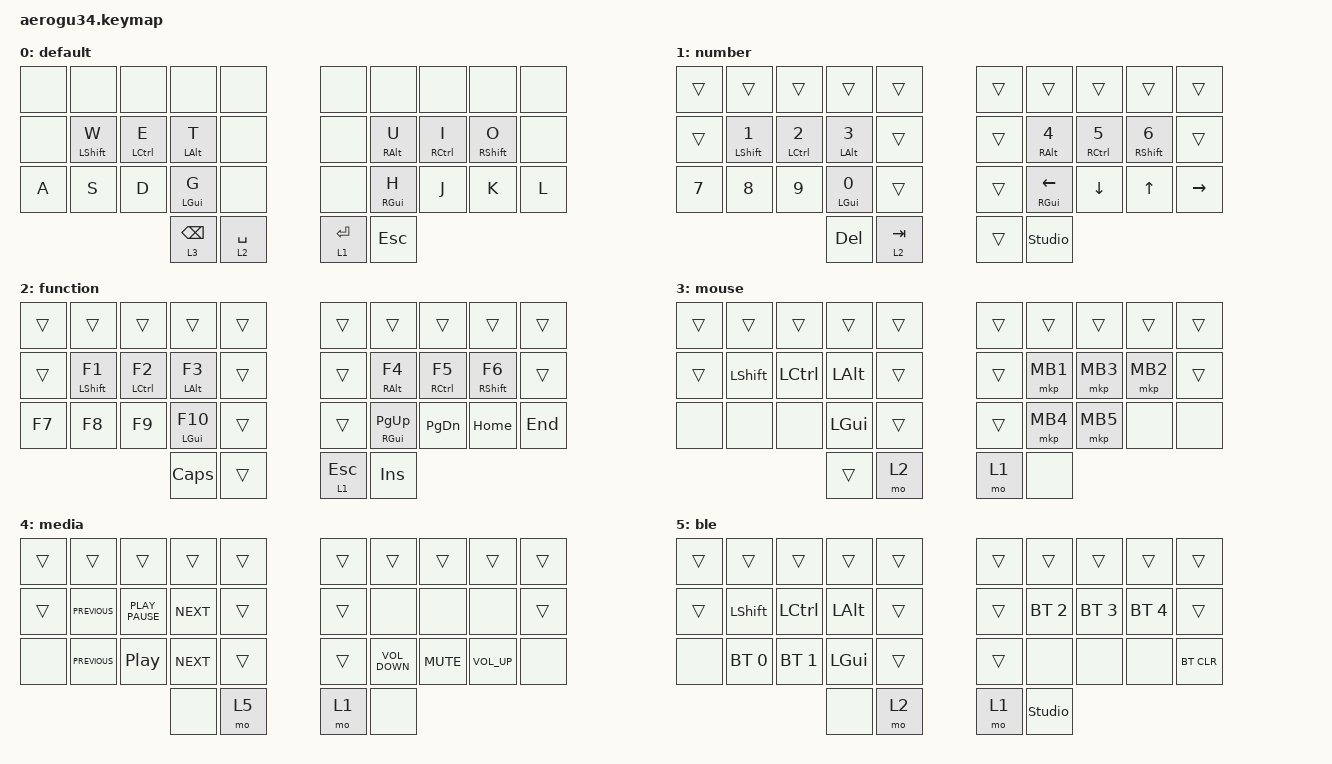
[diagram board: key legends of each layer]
#define ZMK_POINTING_DEFAULT_SCRL_VAL 200

#include <dt-bindings/zmk/mouse.h>
#include <behaviors.dtsi>
#include <dt-bindings/zmk/bt.h>
#include <dt-bindings/zmk/keys.h>
#include <dt-bindings/zmk/pointing.h>

// OS設定を日本語キーボードのまま使用するための変換定義

#define JP_DQUOTE       AT                // "
#define JP_AMPERSAND    CARET             // &e
#define JP_QUOTE        AMPERSAND         // '
#define JP_EQUAL        UNDER             // =
#define JP_CARET        EQUAL             // ^
#define JP_YEN          0x89              // ¥
#define JP_PLUS         COLON             // +
#define JP_TILDE        PLUS              // ~
#define JP_PIPE         LS(0x89)          // |
#define JP_AT           LEFT_BRACKET      // @
#define JP_COLON        SINGLE_QUOTE      // :
#define JP_ASTERISK     DOUBLE_QUOTES     // *
#define JP_BACKQUOTE    LEFT_BRACE        // `
#define JP_UNDERSCORE   LS(0x87)          // _
#define JP_LBRACKET     RIGHT_BRACKET     // [
#define JP_RBRACKET     BACKSLASH         // ]
#define JP_LPAREN       ASTERISK          // (
#define JP_RPAREN       LEFT_PARENTHESIS  // )
#define JP_LBRACE       RIGHT_BRACE       // {
#define JP_RBRACE       PIPE              // }
#define JP_KANA         LANGUAGE_1        // かな
#define JP_EISU         LANGUAGE_2        // 英数
#define JP_HANZEN       GRAVE             // 半角/全角

&mt {
    tapping-term-ms = <170>;
    flavor = "tap-preferred";
    quick-tap-ms = <150>;
    require-prior-idle-ms = <(-1)>;
};

&lt {
    quick-tap-ms = <150>;
    require-prior-idle-ms = <(-1)>;
    flavor = "tap-preferred";
    tapping-term-ms = <170>;
};

/ {
    combos {
        compatible = "zmk,combos";

        n {
            bindings = <&kp N>;
            key-positions = <16 17>;
            layers = <0>;
        };

        m {
            bindings = <&kp M>;
            key-positions = <17 18>;
            layers = <0>;
        };

        x {
            bindings = <&kp X>;
            key-positions = <16 18>;
            layers = <0>;
        };

        y {
            bindings = <&lt 5 Y>;
            key-positions = <27 28>;
            layers = <0>;
            timeout-ms = <80>;
        };

        p {
            bindings = <&kp P>;
            key-positions = <27 26>;
            layers = <0>;
        };

        f {
            bindings = <&kp F>;
            key-positions = <12 13>;
            layers = <0>;
        };

        r {
            bindings = <&kp R>;
            key-positions = <11 12>;
            layers = <0>;
        };

        q {
            bindings = <&kp Q>;
            key-positions = <11 13>;
            layers = <0>;
        };

        v {
            bindings = <&kp V>;
            key-positions = <22 23>;
            layers = <0>;
        };

        c {
            bindings = <&kp C>;
            key-positions = <21 22>;
            layers = <0>;
        };

        backslash {
            bindings = <&kp BACKSLASH>;
            key-positions = <11 12>;
            layers = <1>;
        };

        leftbracket {
            bindings = <&kp LEFT_BRACKET>;
            key-positions = <12 13>;
            layers = <1>;
        };

        rightbraket {
            bindings = <&kp RIGHT_BRACKET>;
            key-positions = <16 17>;
            layers = <1>;
        };

        slash {
            bindings = <&kp SLASH>;
            key-positions = <17 18>;
            layers = <1>;
        };

        colon {
            bindings = <&kp SEMICOLON>;
            key-positions = <26 27>;
            layers = <1>;
        };

        quote {
            bindings = <&kp SQT>;
            key-positions = <28 27>;
            layers = <1>;
        };

        z {
            bindings = <&kp Z>;
            key-positions = <21 23>;
            layers = <0>;
        };

        b {
            bindings = <&kp B>;
            key-positions = <26 28>;
            layers = <0>;
        };

        tilde {
            bindings = <&kp GRAVE>;
            key-positions = <23 22>;
            layers = <1>;
        };

        f11 {
            bindings = <&kp F11>;
            key-positions = <21 22>;
            layers = <2>;
        };

        f12 {
            bindings = <&kp F12>;
            key-positions = <22 23>;
            layers = <2>;
        };

        comma {
            bindings = <&kp COMMA>;
            key-positions = <32 27>;
            layers = <0>;
        };

        period {
            bindings = <&kp PERIOD>;
            key-positions = <32 28>;
            layers = <0>;
        };

        minus {
            bindings = <&kp MINUS>;
            key-positions = <12 11>;
            layers = <2>;
        };

        equal {
            bindings = <&kp EQUAL>;
            key-positions = <17 18>;
            layers = <2>;
        };

        caps {
            bindings = <&caps_word>;
            key-positions = <11 18>;
            layers = <0>;
        };

        medialayer {
            bindings = <&mo 4>;
            key-positions = <20 29>;
        };
    };

    behaviors {
        mod_studio_unlock: mod_studio_unlock {
            compatible = "zmk,behavior-hold-tap";
            label = "msu";
            bindings = <&kp>, <&studio_unlock>;

            #binding-cells = <2>;
            tapping-term-ms = <170>;
            quick-tap-ms = <160>;
            flavor = "tap-preferred";
            require-prior-idle-ms = <(-1)>;
        };
    };

    keymap {
        compatible = "zmk,keymap";

        default {
            bindings = <
&none            &none        &none               &none           &none  &none        &none            &none                &none              &none
&none            &mt LSHFT W  &mt LEFT_CONTROL E  &mt LEFT_ALT T  &none  &none        &mt RIGHT_ALT U  &mt RIGHT_CONTROL I  &mt RIGHT_SHIFT O  &none
&kp A            &kp S        &kp D               &mt LEFT_GUI G  &none  &none        &mt RIGHT_GUI H  &kp J                &kp K              &kp L
&lt 3 BACKSPACE  &lt 2 SPACE                                             &lt 1 ENTER  &kp ESCAPE
            >;
        };

        number {
            bindings = <
&trans      &trans                   &trans                     &trans                 &trans  &trans  &trans                    &trans                &trans                    &trans
&trans      &mt LEFT_SHIFT NUMBER_1  &mt LEFT_CONTROL NUMBER_2  &mt LEFT_ALT NUMBER_3  &trans  &trans  &mt RIGHT_ALT NUMBER_4    &mt RIGHT_CONTROL N5  &mt RIGHT_SHIFT NUMBER_6  &trans
&kp N7      &kp N8                   &kp N9                     &mt LEFT_GUI N0        &trans  &trans  &mt RIGHT_GUI LEFT_ARROW  &kp DOWN_ARROW        &kp UP_ARROW              &kp RIGHT_ARROW
&kp DELETE  &lt 2 TAB                                                                          &trans  &studio_unlock
            >;
        };

        function {
            bindings = <
&trans        &trans             &trans               &trans            &trans  &trans        &trans                 &trans                &trans              &trans
&trans        &mt LEFT_SHIFT F1  &mt LEFT_CONTROL F2  &mt LEFT_ALT F3   &trans  &trans        &mt RIGHT_ALT F4       &mt RIGHT_CONTROL F5  &mt RIGHT_SHIFT F6  &trans
&kp F7        &kp F8             &kp F9               &mt LEFT_GUI F10  &trans  &trans        &mt RIGHT_GUI PAGE_UP  &kp PAGE_DOWN         &kp HOME            &kp END
&kp CAPSLOCK  &trans                                                            &lt 1 ESCAPE  &kp INSERT
            >;
        };

        mouse {
            bindings = <
&trans  &trans          &trans            &trans        &trans  &trans  &trans    &trans    &trans    &trans
&trans  &kp LEFT_SHIFT  &kp LEFT_CONTROL  &kp LEFT_ALT  &trans  &trans  &mkp MB1  &mkp MB3  &mkp MB2  &trans
&none   &none           &none             &kp LEFT_GUI  &trans  &trans  &mkp MB4  &mkp MB5  &none     &none
&trans  &mo 2                                                   &mo 1   &none
            >;
        };

        media {
            bindings = <
&trans  &trans          &trans            &trans      &trans  &trans  &trans             &trans      &trans           &trans
&trans  &kp K_PREVIOUS  &kp K_PLAY_PAUSE  &kp K_NEXT  &trans  &trans  &none              &none       &none            &trans
&none   &kp C_PREVIOUS  &kp C_PLAY_PAUSE  &kp C_NEXT  &trans  &trans  &kp K_VOLUME_DOWN  &kp K_MUTE  &kp K_VOLUME_UP  &none
&none   &mo 5                                                 &mo 1   &none
            >;
        };

        ble {
            bindings = <
&trans  &trans          &trans            &trans        &trans  &trans  &trans          &trans        &trans        &trans
&trans  &kp LEFT_SHIFT  &kp LEFT_CONTROL  &kp LEFT_ALT  &trans  &trans  &bt BT_SEL 2    &bt BT_SEL 3  &bt BT_SEL 4  &trans
&none   &bt BT_SEL 0    &bt BT_SEL 1      &kp LEFT_GUI  &trans  &trans  &none           &none         &none         &bt BT_CLR
&none   &mo 2                                                   &mo 1   &studio_unlock
            >;
        };
    };
};
